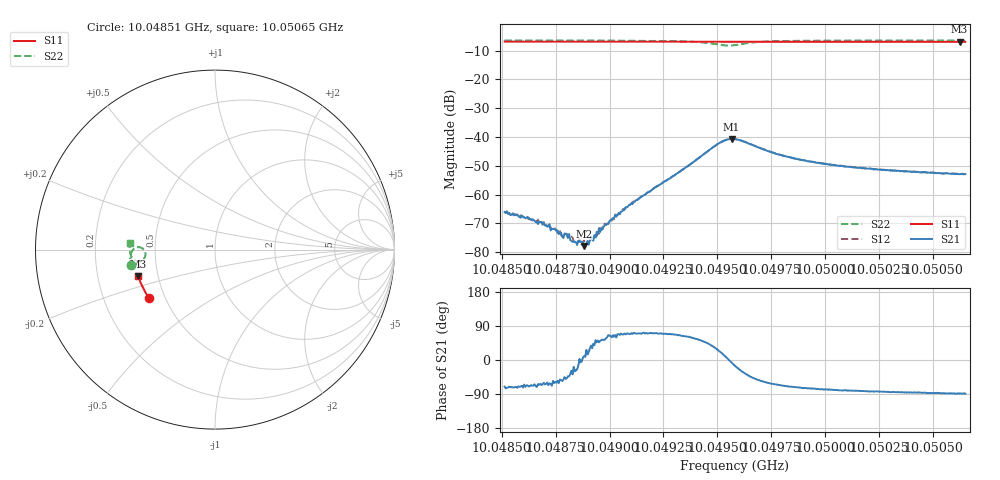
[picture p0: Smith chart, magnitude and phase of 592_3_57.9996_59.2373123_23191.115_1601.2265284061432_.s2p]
#  HZ  S  RI  R  50.00
! Rohde & Schwarz Vector Network Analyzer
! Rohde-Schwarz,ZNB20-2Port,1311601062101988,3.16
! Created: UTC 3/21/2024, 1:16:52 AM
! freq[Hz]  re:S11  im:S11  re:S21  im:S21  re:S12  im:S12  re:S22  im:S22
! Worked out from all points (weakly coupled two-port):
!   401 points, 10.04851 GHz to 10.05065 GHz, reference 50 ohm
!   highest |S21| = -40.69 dB at 10.04957 GHz (marker M1); lowest = -77.9 dB at 10.04888 GHz (marker M2)
!   lowest |S11| = -6.9 dB at 10.05062 GHz (marker M3), VSWR 2.65, Z = 19.3 - j7.19 ohm
!   |S11| at or under -10 dB: nowhere
!   |S22| runs from -8.2 to -6.4 dB; largest |S21 - S12| = 0.00069
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1.0048514e10  -0.3664 -0.2715  0.000167 -0.000467  0.000185 -0.000463  -0.4695 -0.0845
1.0048684e10  -0.3729 -0.2619  0.000137 -0.000308  0.000165 -0.000288  -0.4708 -0.0719
1.0048749e10  -0.375 -0.2585  0.000131 -0.000207  0.00015 -0.000207  -0.4712 -0.0668
1.0048775e10  -0.3761 -0.2569  0.000132 -0.000173  0.000131 -0.000146  -0.4715 -0.0647
1.0048802e10  -0.377 -0.2555  0.000134 -0.000151  0.000159 -0.000136  -0.4718 -0.0627
1.0048829e10  -0.3779 -0.2539  0.000119 -9.26e-05  0.000151 -9.53e-05  -0.4718 -0.0605
1.0048845e10  -0.3785 -0.2531  0.000132 -6.89e-05  0.000138 -2.99e-05  -0.4718 -0.0592
1.0048871e10  -0.3794 -0.2517  0.000152 -8.63e-06  0.000135 5.47e-06  -0.472 -0.057
1.0048882e10  -0.3797 -0.251  0.000126 2.33e-05  0.000155 3.54e-05  -0.4719 -0.0561
1.0048898e10  -0.3802 -0.2502  0.000151 3.91e-05  0.000132 6.36e-05  -0.472 -0.0547
1.0048967e10  -0.3827 -0.2463  0.000145 0.0002  0.000134 0.000243  -0.4721 -0.0486
1.0049053e10  -0.3858 -0.2412  0.000174 0.000473  0.000167 0.000491  -0.4718 -0.0407
1.0049229e10  -0.3914 -0.2312  0.000517 0.00137  0.000415 0.00141  -0.4683 -0.021
1.0049395e10  -0.3965 -0.2215  0.00209 0.00319  0.0019 0.00331  -0.4507 0.00524
1.0049501e10  -0.3991 -0.2151  0.00677 0.00342  0.0065 0.00384  -0.4059 0.00758
1.0049565e10  -0.4006 -0.2118  0.00918 -0.00109  0.00926 -0.000435  -0.3883 -0.0348
1.0049581e10  -0.4012 -0.211  0.00885 -0.00241  0.00905 -0.00184  -0.3934 -0.0464
1.0049774e10  -0.4071 -0.2  0.00217 -0.0046  0.00248 -0.00452  -0.4616 -0.0461
1.0049939e10  -0.4119 -0.19  0.000955 -0.00361  0.00116 -0.00353  -0.4718 -0.0233
1.0050297e10  -0.4206 -0.1682  0.000255 -0.00263  0.000425 -0.00262  -0.4753 0.0102
1.0050623e10  -0.4274 -0.1481  5.88e-05 -0.00227  0.000186 -0.00228  -0.4746 0.0351
1.0050649e10  -0.428 -0.1464  5.17e-05 -0.00226  0.000171 -0.00227  -0.4743 0.0368
